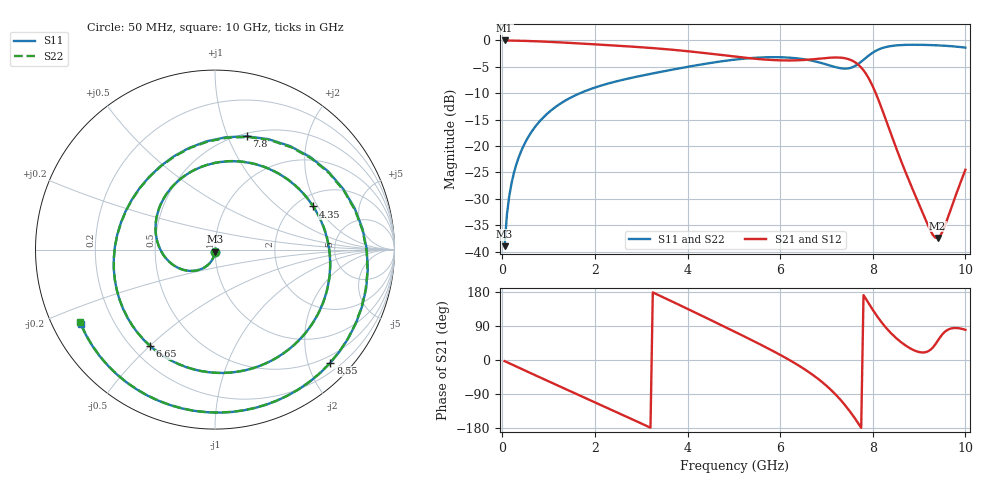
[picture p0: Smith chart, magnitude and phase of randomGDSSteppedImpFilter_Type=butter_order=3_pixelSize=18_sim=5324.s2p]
! freq	dB(S11)	phase(S11)	dB(S12)	phase(S12)
!  dB(S21)	phase(S21)	dB(S22)	phase(S22)
!S-par simulation data
#  GHz  S  DB  R 50
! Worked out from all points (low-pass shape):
!   200 points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, 50 MHz to 10 GHz, reference 50 ohm
!   highest |S21| = -0.01 dB at 50 MHz (marker M1); lowest = -37.4 dB at 9.4 GHz (marker M2)
!   |S21| within 3 dB of the highest: start of sweep to 4.965 GHz
!   lowest |S11| = -39.0 dB at 50 MHz (marker M3), VSWR 1.02, Z = 49.9 - j1.12 ohm
!   |S11| at or under -10 dB: start of sweep to 1.677 GHz
!   |S22| runs from -39.0 to -0.8 dB; largest |S21 - S12| = 0
!   S11 on the Smith chart (normalised r, x): 50 MHz: 1.00, -0.02; 4.35 GHz: 2.45, +1.83; 6.65 GHz: 0.27, -0.50; 7.8 GHz: 0.53, +1.17; 8.55 GHz: 0.36, -2.40; 10 GHz: 0.08, -0.26
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0.05  -38.97 -92.4  -0.01 -2.9  -0.01 -2.9  -38.96 -92.3
0.1  -32.99 -95.4  -0.01 -5.7  -0.01 -5.7  -32.98 -95.4
0.2  -27.03 -101.4  -0.03 -11.4  -0.03 -11.4  -27.03 -101.4
0.5  -19.25 -118.8  -0.09 -28.3  -0.09 -28.3  -19.25 -118.8
1.15  -12.60 -155.5  -0.33 -64.7  -0.33 -64.7  -12.60 -155.3
1.75  -9.73 171.2  -0.61 -97.8  -0.61 -97.8  -9.73 171.5
2.65  -7.36 121.3  -1.09 -147.7  -1.09 -147.7  -7.36 121.7
3.4  -5.99 78.8  -1.56 169.8  -1.56 169.8  -5.99 79.3
4.35  -4.47 23.7  -2.37 114.4  -2.37 114.4  -4.47 24.2
5.05  -3.60 -17.5  -3.09 72.8  -3.09 72.8  -3.60 -17.0
5.95  -3.17 -72.7  -3.76 16.9  -3.76 16.9  -3.17 -72.3
6.65  -3.77 -123.8  -3.61 -34.5  -3.61 -34.5  -3.77 -123.5
6.7  -3.86 -128.1  -3.57 -38.9  -3.57 -38.9  -3.86 -127.9
7.3  -5.26 164.4  -3.26 -104.6  -3.26 -104.6  -5.27 164.1
7.6  -4.92 114.1  -4.03 -151.5  -4.03 -151.5  -4.93 113.2
7.8  -3.67 74.4  -5.65 171.2  -5.65 171.2  -3.68 73.3
8.1  -1.82 16.7  -10.76 114.4  -10.76 114.4  -1.82 15.6
8.35  -1.13 -21.1  -16.64 76.4  -16.64 76.4  -1.13 -21.9
8.55  -0.91 -44.4  -21.41 53.0  -21.41 53.0  -0.91 -45.2
8.95  -0.82 -80.0  -30.04 22.7  -30.04 22.7  -0.83 -80.6
9.4  -0.93 -111.6  -37.43 50.2  -37.43 50.2  -0.94 -112.2
10  -1.36 -151.0  -24.50 79.6  -24.50 79.6  -1.38 -151.9
